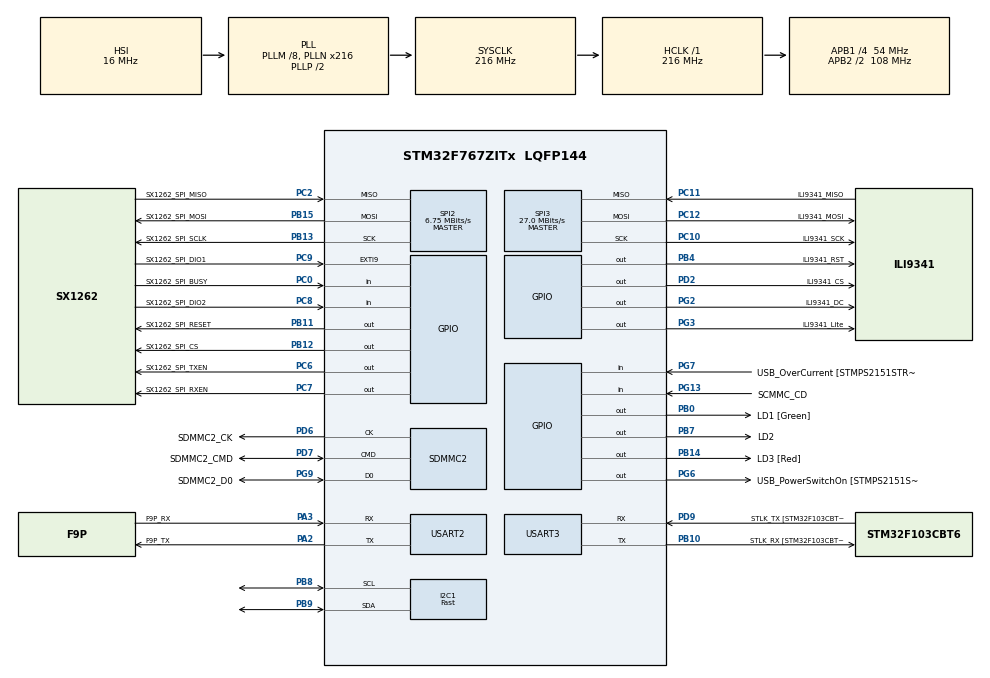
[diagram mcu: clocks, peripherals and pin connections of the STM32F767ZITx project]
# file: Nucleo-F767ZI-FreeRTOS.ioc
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CORTEX_M7.default_mode_Activation=1
Dma.Request0=SDMMC2_RX
Dma.Request1=SDMMC2_TX
Dma.Request2=SPI3_TX
Dma.SDMMC2_RX.0.Direction=DMA_PERIPH_TO_MEMORY
Dma.SDMMC2_RX.0.FIFOMode=DMA_FIFOMODE_ENABLE
Dma.SDMMC2_RX.0.FIFOThreshold=DMA_FIFO_THRESHOLD_FULL
Dma.SDMMC2_RX.0.Instance=DMA2_Stream0
Dma.SDMMC2_RX.0.MemBurst=DMA_MBURST_INC4
Dma.SDMMC2_RX.0.MemDataAlignment=DMA_MDATAALIGN_WORD
Dma.SDMMC2_RX.0.MemInc=DMA_MINC_ENABLE
Dma.SDMMC2_RX.0.Mode=DMA_PFCTRL
Dma.SDMMC2_RX.0.PeriphBurst=DMA_PBURST_INC4
Dma.SDMMC2_RX.0.PeriphDataAlignment=DMA_PDATAALIGN_WORD
Dma.SDMMC2_RX.0.PeriphInc=DMA_PINC_DISABLE
Dma.SDMMC2_RX.0.Priority=DMA_PRIORITY_MEDIUM
Dma.SDMMC2_TX.1.Direction=DMA_MEMORY_TO_PERIPH
Dma.SDMMC2_TX.1.FIFOMode=DMA_FIFOMODE_ENABLE
Dma.SDMMC2_TX.1.FIFOThreshold=DMA_FIFO_THRESHOLD_FULL
Dma.SDMMC2_TX.1.Instance=DMA2_Stream5
Dma.SDMMC2_TX.1.MemBurst=DMA_MBURST_INC4
Dma.SDMMC2_TX.1.MemDataAlignment=DMA_MDATAALIGN_WORD
Dma.SDMMC2_TX.1.MemInc=DMA_MINC_ENABLE
Dma.SDMMC2_TX.1.Mode=DMA_PFCTRL
Dma.SDMMC2_TX.1.PeriphBurst=DMA_PBURST_INC4
Dma.SDMMC2_TX.1.PeriphDataAlignment=DMA_PDATAALIGN_WORD
Dma.SDMMC2_TX.1.PeriphInc=DMA_PINC_DISABLE
Dma.SDMMC2_TX.1.Priority=DMA_PRIORITY_MEDIUM
Dma.SPI3_TX.2.Direction=DMA_MEMORY_TO_PERIPH
Dma.SPI3_TX.2.FIFOMode=DMA_FIFOMODE_DISABLE
Dma.SPI3_TX.2.Instance=DMA1_Stream5
Dma.SPI3_TX.2.MemDataAlignment=DMA_MDATAALIGN_BYTE
Dma.SPI3_TX.2.MemInc=DMA_MINC_ENABLE
Dma.SPI3_TX.2.Mode=DMA_NORMAL
Dma.SPI3_TX.2.PeriphDataAlignment=DMA_PDATAALIGN_BYTE
Dma.SPI3_TX.2.PeriphInc=DMA_PINC_DISABLE
Dma.SPI3_TX.2.Priority=DMA_PRIORITY_LOW
FATFS.BSP.number=1
FATFS._FS_NOFSINFO=1
FATFS0.BSP.STBoard=false
FATFS0.BSP.api=Unknown
FATFS0.BSP.instance=PG13
FATFS0.BSP.ip=GPIO
FATFS0.BSP.mode=Input
FATFS0.BSP.name=Detect_SDIO
FATFS0.BSP.solution=PG13
FREERTOS.Tasks01=defaultTask,24,512,StartDefaultTask,Default,NULL,Dynamic,NULL,NULL
FREERTOS.configCHECK_FOR_STACK_OVERFLOW=2
FREERTOS.configMINIMAL_STACK_SIZE=512
FREERTOS.configTOTAL_HEAP_SIZE=32768
FREERTOS.configUSE_MALLOC_FAILED_HOOK=1
FREERTOS.configUSE_NEWLIB_REENTRANT=1
I2C1.I2C_Speed_Mode=I2C_Fast
I2C1.Timing=0x6000030D
Mcu.Family=STM32F7
Mcu.Name=STM32F767ZITx
Mcu.Package=LQFP144
NVIC.DMA1_Stream5_IRQn=true\:5\:0\:false\:false\:true\:true\:false\:true\:true
NVIC.DMA2_Stream0_IRQn=true\:5\:0\:false\:false\:true\:true\:false\:true\:true
NVIC.DMA2_Stream5_IRQn=true\:5\:0\:false\:false\:true\:true\:false\:true\:true
NVIC.EXTI9_5_IRQn=true\:5\:0\:false\:false\:true\:true\:true\:true\:true
NVIC.PriorityGroup=NVIC_PRIORITYGROUP_4
NVIC.SDMMC2_IRQn=true\:5\:0\:false\:false\:true\:true\:true\:true\:true
NVIC.TIM6_DAC_IRQn=true\:15\:0\:false\:false\:true\:false\:false\:true\:true
NVIC.TIM8_TRG_COM_TIM14_IRQn=true\:5\:0\:false\:false\:true\:true\:true\:true\:true
NVIC.TimeBase=TIM6_DAC_IRQn
NVIC.TimeBaseIP=TIM6
NVIC.USART2_IRQn=true\:5\:0\:false\:false\:true\:true\:true\:true\:true
PA10.GPIO_Label=USB_ID
PA10.Signal=USB_OTG_FS_ID
PA11.GPIO_Label=USB_DM
PA11.Signal=USB_OTG_FS_DM
PA12.GPIO_Label=USB_DP
PA12.Signal=USB_OTG_FS_DP
PA13.GPIO_Label=TMS
PA13.Mode=Serial_Wire
PA13.Signal=SYS_JTMS-SWDIO
PA14.GPIO_Label=TCK
PA14.Mode=Serial_Wire
PA14.Signal=SYS_JTCK-SWCLK
PA2.GPIO_Label=F9P_TX
PA2.Mode=Asynchronous
PA2.Signal=USART2_TX
PA3.GPIO_Label=F9P_RX
PA3.Mode=Asynchronous
PA3.Signal=USART2_RX
PA8.GPIO_Label=USB_SOF [TP1]
PA8.Signal=USB_OTG_FS_SOF
PA9.GPIO_Label=USB_VBUS
PA9.Signal=USB_OTG_FS_VBUS
PB0.GPIO_Label=LD1 [Green]
PB0.Signal=GPIO_Output
PB10.GPIO_Label=STLK_RX [STM32F103CBT6_PA3]
PB10.Mode=Asynchronous
PB10.Signal=USART3_TX
PB11.GPIO_Label=SX1262_SPI_RESET
PB11.Signal=GPIO_Output
PB12.GPIO_Label=SX1262_SPI_CS
PB12.GPIO_Speed=GPIO_SPEED_FREQ_HIGH
PB12.PinState=GPIO_PIN_SET
PB12.Signal=GPIO_Output
PB13.GPIO_Label=SX1262_SPI_SCLK
PB13.Mode=Full_Duplex_Master
PB13.Signal=SPI2_SCK
PB14.GPIO_Label=LD3 [Red]
PB14.Signal=GPIO_Output
PB15.GPIO_Label=SX1262_SPI_MOSI
PB15.Mode=Full_Duplex_Master
PB15.Signal=SPI2_MOSI
PB3.GPIO_Label=SWO
PB3.Signal=SYS_JTDO-SWO
PB4.GPIO_Label=ILI9341_RST
PB4.PinState=GPIO_PIN_SET
PB4.Signal=GPIO_Output
PB7.GPIO_Label=LD2
PB7.Signal=GPIO_Output
PB8.GPIO_Pu=GPIO_PULLUP
PB8.Mode=I2C
PB8.Signal=I2C1_SCL
PB9.GPIO_Pu=GPIO_PULLUP
PB9.Mode=I2C
PB9.Signal=I2C1_SDA
PC0.GPIO_Label=SX1262_SPI_BUSY
PC0.Signal=GPIO_Input
PC10.GPIO_Label=ILI9341_SCK
PC10.Mode=Full_Duplex_Master
PC10.Signal=SPI3_SCK
PC11.GPIO_Label=ILI9341_MISO
PC11.Mode=Full_Duplex_Master
PC11.Signal=SPI3_MISO
PC12.GPIO_Label=ILI9341_MOSI
PC12.Mode=Full_Duplex_Master
PC12.Signal=SPI3_MOSI
PC14/OSC32_IN.Signal=RCC_OSC32_IN
PC15/OSC32_OUT.Signal=RCC_OSC32_OUT
PC2.GPIO_Label=SX1262_SPI_MISO
PC2.Mode=Full_Duplex_Master
PC2.Signal=SPI2_MISO
PC6.GPIO_Label=SX1262_SPI_TXEN
PC6.Signal=GPIO_Output
PC7.GPIO_Label=SX1262_SPI_RXEN
PC7.GPIO_Speed=GPIO_SPEED_FREQ_MEDIUM
PC7.Signal=GPIO_Output
PC8.GPIO_Label=SX1262_SPI_DIO2
PC8.Signal=GPIO_Input
PC9.GPIO_Label=SX1262_SPI_DIO1
PC9.GPIO_ModeDefaultEXTI=GPIO_MODE_IT_RISING
PC9.Signal=GPXTI9
PD2.GPIO_Label=ILI9341_CS
PD2.GPIO_Speed=GPIO_SPEED_FREQ_VERY_HIGH
PD2.Signal=GPIO_Output
PD6.GPIO_Label=SDMMC2_CK
PD6.Mode=SD_1_bit
PD6.Signal=SDMMC2_CK
PD7.GPIO_Label=SDMMC2_CMD
PD7.Mode=SD_1_bit
PD7.Signal=SDMMC2_CMD
PD9.GPIO_Label=STLK_TX [STM32F103CBT6_PA2]
PD9.Mode=Asynchronous
PD9.Signal=USART3_RX
PG13.GPIO_Label=SCMMC_CD
PG13.Signal=GPIO_Input
PG2.GPIO_Label=ILI9341_DC
PG2.Signal=GPIO_Output
PG3.GPIO_Label=ILI9341_Lite
PG3.Signal=GPIO_Output
PG6.GPIO_Label=USB_PowerSwitchOn [STMPS2151STR_EN]
PG6.Signal=GPIO_Output
PG7.GPIO_Label=USB_OverCurrent [STMPS2151STR_FAULT]
PG7.Signal=GPIO_Input
PG9.GPIO_Label=SDMMC2_D0
PG9.Mode=SD_1_bit
PG9.Signal=SDMMC2_D0
ProjectManager.HeapSize=0x200
ProjectManager.StackSize=0x400
ProjectManager.TargetToolchain=STM32CubeIDE
RCC.AHBFreq_Value=216000000
RCC.APB1CLKDivider=RCC_HCLK_DIV4
RCC.APB1Freq_Value=54000000
RCC.APB1TimFreq_Value=108000000
RCC.APB2CLKDivider=RCC_HCLK_DIV2
RCC.APB2Freq_Value=108000000
RCC.APB2TimFreq_Value=216000000
RCC.CortexFreq_Value=216000000
RCC.HCLKFreq_Value=216000000
RCC.HSE_VALUE=25000000
RCC.HSI_VALUE=16000000
RCC.LSE_VALUE=32768
RCC.PLLM=8
RCC.PLLN=216
RCC.PLLQ=9
RCC.SDMMC2ClockSelection=RCC_SDMMC2CLKSOURCE_CLK48
RCC.SYSCLKFreq_VALUE=216000000
RCC.SYSCLKSource=RCC_SYSCLKSOURCE_PLLCLK
RCC.USBFreq_Value=48000000
RCC.VCOOutputFreq_Value=432000000
SDMMC2.ClockDiv=4
SPI2.BaudRatePrescaler=SPI_BAUDRATEPRESCALER_8
SPI2.CalculateBaudRate=6.75 MBits/s
SPI2.DataSize=SPI_DATASIZE_8BIT
SPI2.Direction=SPI_DIRECTION_2LINES
SPI2.Mode=SPI_MODE_MASTER
SPI2.VirtualType=VM_MASTER
SPI3.BaudRatePrescaler=SPI_BAUDRATEPRESCALER_2
SPI3.CLKPhase=SPI_PHASE_1EDGE
SPI3.CLKPolarity=SPI_POLARITY_LOW
SPI3.CalculateBaudRate=27.0 MBits/s
SPI3.DataSize=SPI_DATASIZE_8BIT
SPI3.Direction=SPI_DIRECTION_2LINES
SPI3.Mode=SPI_MODE_MASTER
SPI3.VirtualType=VM_MASTER
USART2.VirtualMode-Asynchronous=VM_ASYNC
USART3.VirtualMode-Asynchronous=VM_ASYNC
VP_FATFS_VS_SDIO.Mode=SDIO
VP_FREERTOS_VS_CMSIS_V2.Mode=CMSIS_V2
VP_SYS_VS_tim6.Mode=TIM6
VP_TIM14_VS_ClockSourceINT.Mode=Enable_Timer
board=NUCLEO-F767ZI

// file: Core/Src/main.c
/* USER CODE BEGIN Header */
/**
  ******************************************************************************
  * @file           : main.c
  * @brief          : Main program body
  ******************************************************************************
  * @attention
  *
  * Copyright (c) 2026 STMicroelectronics.
  * All rights reserved.
  *
  * This software is licensed under terms that can be found in the LICENSE file
  * in the root directory of this software component.
  * If no LICENSE file comes with this software, it is provided AS-IS.
  *
  ******************************************************************************
  */
/* USER CODE END Header */
#include "main.h"
#include "cmsis_os.h"
#include "fatfs.h"

/* USER CODE BEGIN Includes */
#include "task_logger.h"
#include "task_display.h"
#include "task_ota.h"
#include "task_sdcard.h"
#include "ili9341.h"
/* USER CODE END Includes */

I2C_HandleTypeDef hi2c1;

SD_HandleTypeDef hsd2;
DMA_HandleTypeDef hdma_sdmmc2_rx;
DMA_HandleTypeDef hdma_sdmmc2_tx;

SPI_HandleTypeDef hspi2;
SPI_HandleTypeDef hspi3;
DMA_HandleTypeDef hdma_spi3_tx;

TIM_HandleTypeDef htim14;

UART_HandleTypeDef huart2;
UART_HandleTypeDef huart3;

/* Definitions for defaultTask */
osThreadId_t defaultTaskHandle;
const osThreadAttr_t defaultTask_attributes = {
  .name = "defaultTask",
  .stack_size = 512 * 4,
  .priority = (osPriority_t) osPriorityNormal,
};
/* USER CODE BEGIN PV */
SemaphoreHandle_t hi2c1_mutex;
/* USER CODE END PV */

void SystemClock_Config(void);
static void MPU_Config(void);
static void MX_GPIO_Init(void);
static void MX_DMA_Init(void);
static void MX_USART3_UART_Init(void);
static void MX_I2C1_Init(void);
static void MX_TIM14_Init(void);
static void MX_SPI2_Init(void);
static void MX_USART2_UART_Init(void);
static void MX_SDMMC2_SD_Init(void);
static void MX_SPI3_Init(void);
void StartDefaultTask(void *argument);

/* USER CODE BEGIN PFP */
static void blink_task(void *arg);
/* USER CODE END PFP */

int main(void)
{

  /* MPU Configuration--------------------------------------------------------*/
  MPU_Config();

  /* MCU Configuration--------------------------------------------------------*/

  /* Reset of all peripherals, Initializes the Flash interface and the Systick. */
  HAL_Init();

  /* Configure the system clock */
  SystemClock_Config();

  /* USER CODE BEGIN SysInit */
  /* Enable DWT cycle counter for firmware-wide cycle-accurate timestamps.
   * Must be after SystemClock_Config so SystemCoreClock is correct. */
  CoreDebug->DEMCR |= CoreDebug_DEMCR_TRCENA_Msk;
  DWT->CYCCNT = 0;
  DWT->CTRL  |= DWT_CTRL_CYCCNTENA_Msk;
  /* USER CODE END SysInit */

  /* Initialize all configured peripherals */
  MX_GPIO_Init();
  MX_DMA_Init();
  MX_USART3_UART_Init();
  MX_I2C1_Init();
  MX_TIM14_Init();
  MX_SPI2_Init();
  MX_USART2_UART_Init();
  MX_SDMMC2_SD_Init();
  MX_FATFS_Init();
  MX_SPI3_Init();

  /* Init scheduler */
  osKernelInitialize();

  /* USER CODE BEGIN RTOS_MUTEX */
  hi2c1_mutex = xSemaphoreCreateMutex();
  configASSERT(hi2c1_mutex);
  /* USER CODE END RTOS_MUTEX */

  /* Create the thread(s) */
  /* creation of defaultTask */
  defaultTaskHandle = osThreadNew(StartDefaultTask, NULL, &defaultTask_attributes);

  /* USER CODE BEGIN RTOS_THREADS */
  xTaskCreate(blink_task, "blink", 128, NULL, tskIDLE_PRIORITY + 1, NULL);
  /* USER CODE END RTOS_THREADS */

  /* Start scheduler */
  osKernelStart();

  /* We should never get here as control is now taken by the scheduler */

  /* Infinite loop */
  while (1)
  {

  }
}

void SystemClock_Config(void)
{
  RCC_OscInitTypeDef RCC_OscInitStruct = {0};
  RCC_ClkInitTypeDef RCC_ClkInitStruct = {0};

  /** Configure the main internal regulator output voltage
  */
  __HAL_RCC_PWR_CLK_ENABLE();
  __HAL_PWR_VOLTAGESCALING_CONFIG(PWR_REGULATOR_VOLTAGE_SCALE1);

  /** Initializes the RCC Oscillators according to the specified parameters
  * in the RCC_OscInitTypeDef structure.
  */
  RCC_OscInitStruct.OscillatorType = RCC_OSCILLATORTYPE_HSI;
  RCC_OscInitStruct.HSIState = RCC_HSI_ON;
  RCC_OscInitStruct.HSICalibrationValue = RCC_HSICALIBRATION_DEFAULT;
  RCC_OscInitStruct.PLL.PLLState = RCC_PLL_ON;
  RCC_OscInitStruct.PLL.PLLSource = RCC_PLLSOURCE_HSI;
  RCC_OscInitStruct.PLL.PLLM = 8;
  RCC_OscInitStruct.PLL.PLLN = 216;
  RCC_OscInitStruct.PLL.PLLP = RCC_PLLP_DIV2;
  RCC_OscInitStruct.PLL.PLLQ = 9;
  RCC_OscInitStruct.PLL.PLLR = 2;
  if (HAL_RCC_OscConfig(&RCC_OscInitStruct) != HAL_OK)
  {
    Error_Handler();
  }

  /** Activate the Over-Drive mode
  */
  if (HAL_PWREx_EnableOverDrive() != HAL_OK)
  {
    Error_Handler();
  }

  /** Initializes the CPU, AHB and APB buses clocks
  */
  RCC_ClkInitStruct.ClockType = RCC_CLOCKTYPE_HCLK|RCC_CLOCKTYPE_SYSCLK
                              |RCC_CLOCKTYPE_PCLK1|RCC_CLOCKTYPE_PCLK2;
  RCC_ClkInitStruct.SYSCLKSource = RCC_SYSCLKSOURCE_PLLCLK;
  RCC_ClkInitStruct.AHBCLKDivider = RCC_SYSCLK_DIV1;
  RCC_ClkInitStruct.APB1CLKDivider = RCC_HCLK_DIV4;
  RCC_ClkInitStruct.APB2CLKDivider = RCC_HCLK_DIV2;

  if (HAL_RCC_ClockConfig(&RCC_ClkInitStruct, FLASH_LATENCY_7) != HAL_OK)
  {
    Error_Handler();
  }
}

static void MX_I2C1_Init(void)
{

  hi2c1.Instance = I2C1;
  hi2c1.Init.Timing = 0x20404768;
  hi2c1.Init.OwnAddress1 = 0;
  hi2c1.Init.AddressingMode = I2C_ADDRESSINGMODE_7BIT;
  hi2c1.Init.DualAddressMode = I2C_DUALADDRESS_DISABLE;
  hi2c1.Init.OwnAddress2 = 0;
  hi2c1.Init.OwnAddress2Masks = I2C_OA2_NOMASK;
  hi2c1.Init.GeneralCallMode = I2C_GENERALCALL_DISABLE;
  hi2c1.Init.NoStretchMode = I2C_NOSTRETCH_DISABLE;
  if (HAL_I2C_Init(&hi2c1) != HAL_OK)
  {
    Error_Handler();
  }

  /** Configure Analogue filter
  */
  if (HAL_I2CEx_ConfigAnalogFilter(&hi2c1, I2C_ANALOGFILTER_ENABLE) != HAL_OK)
  {
    Error_Handler();
  }

  /** Configure Digital filter
  */
  if (HAL_I2CEx_ConfigDigitalFilter(&hi2c1, 0) != HAL_OK)
  {
    Error_Handler();
  }

}

static void MX_SDMMC2_SD_Init(void)
{

  hsd2.Instance = SDMMC2;
  hsd2.Init.ClockEdge = SDMMC_CLOCK_EDGE_RISING;
  hsd2.Init.ClockBypass = SDMMC_CLOCK_BYPASS_DISABLE;
  hsd2.Init.ClockPowerSave = SDMMC_CLOCK_POWER_SAVE_DISABLE;
  hsd2.Init.BusWide = SDMMC_BUS_WIDE_1B;
  hsd2.Init.HardwareFlowControl = SDMMC_HARDWARE_FLOW_CONTROL_DISABLE;
  hsd2.Init.ClockDiv = 4;

}

static void MX_SPI2_Init(void)
{

  /* SPI2 parameter configuration*/
  hspi2.Instance = SPI2;
  hspi2.Init.Mode = SPI_MODE_MASTER;
  hspi2.Init.Direction = SPI_DIRECTION_2LINES;
  hspi2.Init.DataSize = SPI_DATASIZE_8BIT;
  hspi2.Init.CLKPolarity = SPI_POLARITY_LOW;
  hspi2.Init.CLKPhase = SPI_PHASE_1EDGE;
  hspi2.Init.NSS = SPI_NSS_SOFT;
  hspi2.Init.BaudRatePrescaler = SPI_BAUDRATEPRESCALER_8;
  hspi2.Init.FirstBit = SPI_FIRSTBIT_MSB;
  hspi2.Init.TIMode = SPI_TIMODE_DISABLE;
  hspi2.Init.CRCCalculation = SPI_CRCCALCULATION_DISABLE;
  hspi2.Init.CRCPolynomial = 7;
  hspi2.Init.CRCLength = SPI_CRC_LENGTH_DATASIZE;
  hspi2.Init.NSSPMode = SPI_NSS_PULSE_ENABLE;
  if (HAL_SPI_Init(&hspi2) != HAL_OK)
  {
    Error_Handler();
  }

}

static void MX_SPI3_Init(void)
{

  /* SPI3 parameter configuration*/
  hspi3.Instance = SPI3;
  hspi3.Init.Mode = SPI_MODE_MASTER;
  hspi3.Init.Direction = SPI_DIRECTION_2LINES;
  hspi3.Init.DataSize = SPI_DATASIZE_8BIT;
  hspi3.Init.CLKPolarity = SPI_POLARITY_LOW;
  hspi3.Init.CLKPhase = SPI_PHASE_1EDGE;
  hspi3.Init.NSS = SPI_NSS_SOFT;
  hspi3.Init.BaudRatePrescaler = SPI_BAUDRATEPRESCALER_2;
  hspi3.Init.FirstBit = SPI_FIRSTBIT_MSB;
  hspi3.Init.TIMode = SPI_TIMODE_DISABLE;
  hspi3.Init.CRCCalculation = SPI_CRCCALCULATION_DISABLE;
  hspi3.Init.CRCPolynomial = 7;
  hspi3.Init.CRCLength = SPI_CRC_LENGTH_DATASIZE;
  hspi3.Init.NSSPMode = SPI_NSS_PULSE_ENABLE;
  if (HAL_SPI_Init(&hspi3) != HAL_OK)
  {
    Error_Handler();
  }

}

static void MX_TIM14_Init(void)
{

  htim14.Instance = TIM14;
  htim14.Init.Prescaler = 0;
  htim14.Init.CounterMode = TIM_COUNTERMODE_UP;
  htim14.Init.Period = 65535;
  htim14.Init.ClockDivision = TIM_CLOCKDIVISION_DIV1;
  htim14.Init.AutoReloadPreload = TIM_AUTORELOAD_PRELOAD_DISABLE;
  if (HAL_TIM_Base_Init(&htim14) != HAL_OK)
  {
    Error_Handler();
  }

}

static void MX_USART2_UART_Init(void)
{

  huart2.Instance = USART2;
  huart2.Init.BaudRate = 115200;
  huart2.Init.WordLength = UART_WORDLENGTH_8B;
  huart2.Init.StopBits = UART_STOPBITS_1;
  huart2.Init.Parity = UART_PARITY_NONE;
  huart2.Init.Mode = UART_MODE_TX_RX;
  huart2.Init.HwFlowCtl = UART_HWCONTROL_NONE;
  huart2.Init.OverSampling = UART_OVERSAMPLING_16;
  huart2.Init.OneBitSampling = UART_ONE_BIT_SAMPLE_DISABLE;
  huart2.AdvancedInit.AdvFeatureInit = UART_ADVFEATURE_NO_INIT;
  if (HAL_UART_Init(&huart2) != HAL_OK)
  {
    Error_Handler();
  }

}

static void MX_USART3_UART_Init(void)
{

  huart3.Instance = USART3;
  huart3.Init.BaudRate = 115200;
  huart3.Init.WordLength = UART_WORDLENGTH_8B;
  huart3.Init.StopBits = UART_STOPBITS_1;
  huart3.Init.Parity = UART_PARITY_NONE;
  huart3.Init.Mode = UART_MODE_TX_RX;
  huart3.Init.HwFlowCtl = UART_HWCONTROL_NONE;
  huart3.Init.OverSampling = UART_OVERSAMPLING_16;
  huart3.Init.OneBitSampling = UART_ONE_BIT_SAMPLE_DISABLE;
  huart3.AdvancedInit.AdvFeatureInit = UART_ADVFEATURE_NO_INIT;
  if (HAL_UART_Init(&huart3) != HAL_OK)
  {
    Error_Handler();
  }

}

static void MX_DMA_Init(void)
{

  /* DMA controller clock enable */
  __HAL_RCC_DMA2_CLK_ENABLE();
  __HAL_RCC_DMA1_CLK_ENABLE();

  /* DMA interrupt init */
  /* DMA1_Stream5_IRQn interrupt configuration */
  HAL_NVIC_SetPriority(DMA1_Stream5_IRQn, 5, 0);
  HAL_NVIC_EnableIRQ(DMA1_Stream5_IRQn);
  /* DMA2_Stream0_IRQn interrupt configuration */
  HAL_NVIC_SetPriority(DMA2_Stream0_IRQn, 5, 0);
  HAL_NVIC_EnableIRQ(DMA2_Stream0_IRQn);
  /* DMA2_Stream5_IRQn interrupt configuration */
  HAL_NVIC_SetPriority(DMA2_Stream5_IRQn, 5, 0);
  HAL_NVIC_EnableIRQ(DMA2_Stream5_IRQn);

}

static void MX_GPIO_Init(void)
{
  GPIO_InitTypeDef GPIO_InitStruct = {0};

  /* GPIO Ports Clock Enable */
  __HAL_RCC_GPIOC_CLK_ENABLE();
  __HAL_RCC_GPIOA_CLK_ENABLE();
  __HAL_RCC_GPIOB_CLK_ENABLE();
  __HAL_RCC_GPIOD_CLK_ENABLE();
  __HAL_RCC_GPIOG_CLK_ENABLE();

  /*Configure GPIO pin Output Level */
  HAL_GPIO_WritePin(GPIOB, LD1_Pin|SX1262_SPI_RESET_Pin|LD3_Pin|LD2_Pin, GPIO_PIN_RESET);

  /*Configure GPIO pin Output Level */
  HAL_GPIO_WritePin(GPIOB, SX1262_SPI_CS_Pin|ILI9341_RST_Pin, GPIO_PIN_SET);

  /*Configure GPIO pin Output Level */
  HAL_GPIO_WritePin(GPIOG, ILI9341_DC_Pin|ILI9341_Lite_Pin|USB_PowerSwitchOn_Pin, GPIO_PIN_RESET);

  /*Configure GPIO pin Output Level */
  HAL_GPIO_WritePin(GPIOC, SX1262_SPI_TXEN_Pin|SX1262_SPI_RXEN_Pin, GPIO_PIN_RESET);

  /*Configure GPIO pin Output Level */
  HAL_GPIO_WritePin(ILI9341_CS_GPIO_Port, ILI9341_CS_Pin, GPIO_PIN_RESET);

  /*Configure GPIO pins : SX1262_SPI_BUSY_Pin SX1262_SPI_DIO2_Pin */
  GPIO_InitStruct.Pin = SX1262_SPI_BUSY_Pin|SX1262_SPI_DIO2_Pin;
  GPIO_InitStruct.Mode = GPIO_MODE_INPUT;
  GPIO_InitStruct.Pull = GPIO_NOPULL;
  HAL_GPIO_Init(GPIOC, &GPIO_InitStruct);

  /*Configure GPIO pins : LD1_Pin SX1262_SPI_RESET_Pin LD3_Pin ILI9341_RST_Pin
                           LD2_Pin */
  GPIO_InitStruct.Pin = LD1_Pin|SX1262_SPI_RESET_Pin|LD3_Pin|ILI9341_RST_Pin
                          |LD2_Pin;
  GPIO_InitStruct.Mode = GPIO_MODE_OUTPUT_PP;
  GPIO_InitStruct.Pull = GPIO_NOPULL;
  GPIO_InitStruct.Speed = GPIO_SPEED_FREQ_LOW;
  HAL_GPIO_Init(GPIOB, &GPIO_InitStruct);

  /*Configure GPIO pin : SX1262_SPI_CS_Pin */
  GPIO_InitStruct.Pin = SX1262_SPI_CS_Pin;
  GPIO_InitStruct.Mode = GPIO_MODE_OUTPUT_PP;
  GPIO_InitStruct.Pull = GPIO_NOPULL;
  GPIO_InitStruct.Speed = GPIO_SPEED_FREQ_HIGH;
  HAL_GPIO_Init(SX1262_SPI_CS_GPIO_Port, &GPIO_InitStruct);

  /*Configure GPIO pins : ILI9341_DC_Pin ILI9341_Lite_Pin USB_PowerSwitchOn_Pin */
  GPIO_InitStruct.Pin = ILI9341_DC_Pin|ILI9341_Lite_Pin|USB_PowerSwitchOn_Pin;
  GPIO_InitStruct.Mode = GPIO_MODE_OUTPUT_PP;
  GPIO_InitStruct.Pull = GPIO_NOPULL;
  GPIO_InitStruct.Speed = GPIO_SPEED_FREQ_LOW;
  HAL_GPIO_Init(GPIOG, &GPIO_InitStruct);

  /*Configure GPIO pins : USB_OverCurrent_Pin SCMMC_CD_Pin */
  GPIO_InitStruct.Pin = USB_OverCurrent_Pin|SCMMC_CD_Pin;
  GPIO_InitStruct.Mode = GPIO_MODE_INPUT;
  GPIO_InitStruct.Pull = GPIO_NOPULL;
  HAL_GPIO_Init(GPIOG, &GPIO_InitStruct);

  /*Configure GPIO pin : SX1262_SPI_TXEN_Pin */
  GPIO_InitStruct.Pin = SX1262_SPI_TXEN_Pin;
  GPIO_InitStruct.Mode = GPIO_MODE_OUTPUT_PP;
  GPIO_InitStruct.Pull = GPIO_NOPULL;
  GPIO_InitStruct.Speed = GPIO_SPEED_FREQ_LOW;
  HAL_GPIO_Init(SX1262_SPI_TXEN_GPIO_Port, &GPIO_InitStruct);

  /*Configure GPIO pin : SX1262_SPI_RXEN_Pin */
  GPIO_InitStruct.Pin = SX1262_SPI_RXEN_Pin;
  GPIO_InitStruct.Mode = GPIO_MODE_OUTPUT_PP;
  GPIO_InitStruct.Pull = GPIO_NOPULL;
  GPIO_InitStruct.Speed = GPIO_SPEED_FREQ_MEDIUM;
  HAL_GPIO_Init(SX1262_SPI_RXEN_GPIO_Port, &GPIO_InitStruct);

  /*Configure GPIO pin : SX1262_SPI_DIO1_Pin */
  GPIO_InitStruct.Pin = SX1262_SPI_DIO1_Pin;
  GPIO_InitStruct.Mode = GPIO_MODE_IT_RISING;
  GPIO_InitStruct.Pull = GPIO_NOPULL;
  HAL_GPIO_Init(SX1262_SPI_DIO1_GPIO_Port, &GPIO_InitStruct);

  /*Configure GPIO pins : USB_SOF_Pin USB_ID_Pin USB_DM_Pin USB_DP_Pin */
  GPIO_InitStruct.Pin = USB_SOF_Pin|USB_ID_Pin|USB_DM_Pin|USB_DP_Pin;
  GPIO_InitStruct.Mode = GPIO_MODE_AF_PP;
  GPIO_InitStruct.Pull = GPIO_NOPULL;
  GPIO_InitStruct.Speed = GPIO_SPEED_FREQ_VERY_HIGH;
  GPIO_InitStruct.Alternate = GPIO_AF10_OTG_FS;
  HAL_GPIO_Init(GPIOA, &GPIO_InitStruct);

  /*Configure GPIO pin : USB_VBUS_Pin */
  GPIO_InitStruct.Pin = USB_VBUS_Pin;
  GPIO_InitStruct.Mode = GPIO_MODE_INPUT;
  GPIO_InitStruct.Pull = GPIO_NOPULL;
  HAL_GPIO_Init(USB_VBUS_GPIO_Port, &GPIO_InitStruct);

  /*Configure GPIO pin : ILI9341_CS_Pin */
  GPIO_InitStruct.Pin = ILI9341_CS_Pin;
  GPIO_InitStruct.Mode = GPIO_MODE_OUTPUT_PP;
  GPIO_InitStruct.Pull = GPIO_NOPULL;
  GPIO_InitStruct.Speed = GPIO_SPEED_FREQ_VERY_HIGH;
  HAL_GPIO_Init(ILI9341_CS_GPIO_Port, &GPIO_InitStruct);

  /* EXTI interrupt init*/
  HAL_NVIC_SetPriority(EXTI9_5_IRQn, 5, 0);
  HAL_NVIC_EnableIRQ(EXTI9_5_IRQn);

}

/* USER CODE BEGIN 4 */
void HAL_SD_ErrorCallback(SD_HandleTypeDef *hsd)
{
    sdcard_on_hal_error(hsd);
}

void HAL_SPI_TxCpltCallback(SPI_HandleTypeDef *hspi)
{
    if (hspi->Instance == SPI3)
        ili9341_spi_tx_cplt();
}

static void blink_task(void *arg)
{
    (void)arg;
    for (;;) {
        HAL_GPIO_TogglePin(LD1_GPIO_Port, LD1_Pin);
        vTaskDelay(pdMS_TO_TICKS(500));
    }
}
/* USER CODE END 4 */

void StartDefaultTask(void *argument)
{
  /* USER CODE BEGIN 5 */
  logger_init();
  display_init();
  task_sdcard_init();
  task_ota_init();

  /* Allow externally connected devices time to power up */
  vTaskDelay(pdMS_TO_TICKS(500));

  logger_log("\r\n\r\nF767ZI FreeRTOS starting\r\n");
  logger_log("heap free: %u  min-ever: %u  of %u\r\n",
             xPortGetFreeHeapSize(),
             xPortGetMinimumEverFreeHeapSize(),
             configTOTAL_HEAP_SIZE);

  display_clear();
  display_string(0, 0, &ssd130x_font5x7, "F767ZI FreeRTOS");
  display_flush();

  static ili9341_t lcd;
  ili9341_init(&lcd, &hspi3,
               ILI9341_CS_GPIO_Port,   ILI9341_CS_Pin,
               ILI9341_DC_GPIO_Port,   ILI9341_DC_Pin,
               ILI9341_RST_GPIO_Port,  ILI9341_RST_Pin,
               ILI9341_Lite_GPIO_Port, ILI9341_Lite_Pin);
  ili9341_bringup(&lcd);
  ili9341_backlight(&lcd, 1);
  ili9341_dma_init();

  for (;;) {
    ili9341_fill(&lcd, ILI9341_RED);
    vTaskDelay(pdMS_TO_TICKS(500));
    ili9341_fill(&lcd, ILI9341_GREEN);
    vTaskDelay(pdMS_TO_TICKS(500));
  }
  /* USER CODE END 5 */
}

 /* MPU Configuration */

void MPU_Config(void)
{
  MPU_Region_InitTypeDef MPU_InitStruct = {0};

  /* Disables the MPU */
  HAL_MPU_Disable();

  /** Initializes and configures the Region and the memory to be protected
  */
  MPU_InitStruct.Enable = MPU_REGION_ENABLE;
  MPU_InitStruct.Number = MPU_REGION_NUMBER0;
  MPU_InitStruct.BaseAddress = 0x0;
  MPU_InitStruct.Size = MPU_REGION_SIZE_4GB;
  MPU_InitStruct.SubRegionDisable = 0x87;
  MPU_InitStruct.TypeExtField = MPU_TEX_LEVEL0;
  MPU_InitStruct.AccessPermission = MPU_REGION_NO_ACCESS;
  MPU_InitStruct.DisableExec = MPU_INSTRUCTION_ACCESS_DISABLE;
  MPU_InitStruct.IsShareable = MPU_ACCESS_SHAREABLE;
  MPU_InitStruct.IsCacheable = MPU_ACCESS_NOT_CACHEABLE;
  MPU_InitStruct.IsBufferable = MPU_ACCESS_NOT_BUFFERABLE;

  HAL_MPU_ConfigRegion(&MPU_InitStruct);
  /* Enables the MPU */
  HAL_MPU_Enable(MPU_PRIVILEGED_DEFAULT);

}

void HAL_TIM_PeriodElapsedCallback(TIM_HandleTypeDef *htim)
{
  if (htim->Instance == TIM6)
  {
    HAL_IncTick();
  }
  /* USER CODE BEGIN Callback 1 */
  if (htim->Instance == TIM6) {
      ms_sd_card();
  }
  /* USER CODE END Callback 1 */
}

void Error_Handler(void)
{
  __disable_irq();
  while (1)
  {
  }
}

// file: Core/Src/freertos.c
/* USER CODE BEGIN Header */
/**
  ******************************************************************************
  * File Name          : freertos.c
  * Description        : Code for freertos applications
  ******************************************************************************
  * @attention
  *
  * Copyright (c) 2026 STMicroelectronics.
  * All rights reserved.
  *
  * This software is licensed under terms that can be found in the LICENSE file
  * in the root directory of this software component.
  * If no LICENSE file comes with this software, it is provided AS-IS.
  *
  ******************************************************************************
  */
/* USER CODE END Header */

#include "FreeRTOS.h"
#include "task.h"
#include "main.h"

/* Hook prototypes */
void vApplicationStackOverflowHook(xTaskHandle xTask, signed char *pcTaskName);
void vApplicationMallocFailedHook(void);

/* USER CODE BEGIN 4 */
void vApplicationStackOverflowHook(xTaskHandle xTask, signed char *pcTaskName)
{
   /* Run time stack overflow checking is performed if
   configCHECK_FOR_STACK_OVERFLOW is defined to 1 or 2. This hook function is
   called if a stack overflow is detected. */
   Error_Handler();
}
/* USER CODE END 4 */

/* USER CODE BEGIN 5 */
void vApplicationMallocFailedHook(void)
{
   /* vApplicationMallocFailedHook() will only be called if
   configUSE_MALLOC_FAILED_HOOK is set to 1 in FreeRTOSConfig.h. It is a hook
   function that will get called if a call to pvPortMalloc() fails.
   pvPortMalloc() is called internally by the kernel whenever a task, queue,
   timer or semaphore is created. It is also called by various parts of the
   demo application. If heap_1.c or heap_2.c are used, then the size of the
   heap available to pvPortMalloc() is defined by configTOTAL_HEAP_SIZE in
   FreeRTOSConfig.h, and the xPortGetFreeHeapSize() API function can be used
   to query the size of free heap space that remains (although it does not
   provide information on how the remaining heap might be fragmented). */
	Error_Handler();
}
/* USER CODE END 5 */
